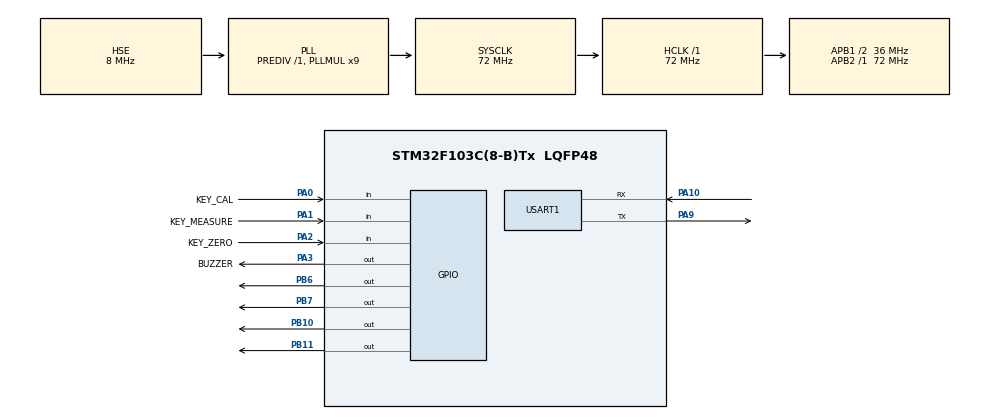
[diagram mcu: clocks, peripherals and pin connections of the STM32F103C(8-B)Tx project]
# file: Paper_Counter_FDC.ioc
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Mcu.Family=STM32F1
Mcu.Name=STM32F103C(8-B)Tx
Mcu.Package=LQFP48
NVIC.PriorityGroup=NVIC_PRIORITYGROUP_4
PA0-WKUP.GPIO_Label=KEY_CAL
PA0-WKUP.GPIO_PuPd=GPIO_PULLUP
PA0-WKUP.Signal=GPIO_Input
PA1.GPIO_Label=KEY_MEASURE
PA1.GPIO_PuPd=GPIO_PULLUP
PA1.Signal=GPIO_Input
PA10.Mode=Asynchronous
PA10.Signal=USART1_RX
PA13.Mode=Serial_Wire
PA13.Signal=SYS_JTMS-SWDIO
PA14.Mode=Serial_Wire
PA14.Signal=SYS_JTCK-SWCLK
PA2.GPIO_Label=KEY_ZERO
PA2.GPIO_PuPd=GPIO_PULLUP
PA2.Signal=GPIO_Input
PA3.GPIO_Label=BUZZER
PA3.Signal=GPIO_Output
PA9.Mode=Asynchronous
PA9.Signal=USART1_TX
PB10.GPIO_ModeDefaultOutputPP=GPIO_MODE_OUTPUT_OD
PB10.GPIO_PuPd=GPIO_PULLUP
PB10.GPIO_Speed=GPIO_SPEED_FREQ_HIGH
PB10.PinState=GPIO_PIN_SET
PB10.Signal=GPIO_Output
PB11.GPIO_ModeDefaultOutputPP=GPIO_MODE_OUTPUT_OD
PB11.GPIO_PuPd=GPIO_PULLUP
PB11.GPIO_Speed=GPIO_SPEED_FREQ_HIGH
PB11.PinState=GPIO_PIN_SET
PB11.Signal=GPIO_Output
PB6.GPIO_ModeDefaultOutputPP=GPIO_MODE_OUTPUT_OD
PB6.GPIO_PuPd=GPIO_PULLUP
PB6.GPIO_Speed=GPIO_SPEED_FREQ_HIGH
PB6.PinState=GPIO_PIN_SET
PB6.Signal=GPIO_Output
PB7.GPIO_ModeDefaultOutputPP=GPIO_MODE_OUTPUT_OD
PB7.GPIO_PuPd=GPIO_PULLUP
PB7.GPIO_Speed=GPIO_SPEED_FREQ_HIGH
PB7.PinState=GPIO_PIN_SET
PB7.Signal=GPIO_Output
PD0-OSC_IN.Mode=HSE-External-Oscillator
PD0-OSC_IN.Signal=RCC_OSC_IN
PD1-OSC_OUT.Mode=HSE-External-Oscillator
PD1-OSC_OUT.Signal=RCC_OSC_OUT
ProjectManager.HeapSize=0x200
ProjectManager.StackSize=0x400
ProjectManager.TargetToolchain=MDK-ARM V5.32
RCC.AHBFreq_Value=72000000
RCC.APB1CLKDivider=RCC_HCLK_DIV2
RCC.APB1Freq_Value=36000000
RCC.APB1TimFreq_Value=72000000
RCC.APB2Freq_Value=72000000
RCC.APB2TimFreq_Value=72000000
RCC.HCLKFreq_Value=72000000
RCC.PLLMUL=RCC_PLL_MUL9
RCC.PLLSourceVirtual=RCC_PLLSOURCE_HSE
RCC.SYSCLKFreq_VALUE=72000000
RCC.SYSCLKSource=RCC_SYSCLKSOURCE_PLLCLK
RCC.USBFreq_Value=72000000
USART1.VirtualMode=VM_ASYNC
board=custom

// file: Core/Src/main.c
/* USER CODE BEGIN Header */
/**
  ******************************************************************************
  * @file           : main.c
  * @brief          : Paper Counter - Giant UI Centered & Pure Linear Math & Undo Cal
  ******************************************************************************
  */
/* USER CODE END Header */
#include "main.h"
#include "usart.h"
#include "gpio.h"

/* USER CODE BEGIN Includes */

#include "fdc2214.h"
#include "OLED.h"
#include <stdio.h>
#include <math.h>

/* USER CODE END Includes */

void SystemClock_Config(void);
/* USER CODE BEGIN PFP */

#ifdef __GNUC__
  #define PUTCHAR_PROTOTYPE int __io_putchar(int ch)
#else
  #define PUTCHAR_PROTOTYPE int fputc(int ch, FILE *f)
#endif

PUTCHAR_PROTOTYPE
{
  extern UART_HandleTypeDef huart1;
  HAL_UART_Transmit(&huart1, (uint8_t *)&ch, 1, 0xFFFF);
  return ch;
}

void Buzz_Beep(uint16_t ms);

/* USER CODE END PFP */

/* USER CODE BEGIN 0 */

// ==========================================
// 核心配置与算法变量
// ==========================================
#define CAL_POINTS 26
#define SHORT_CIRCUIT_RAW_THRESHOLD 80000000

const uint16_t Sheet_Nodes[CAL_POINTS] = {0, 1, 5, 10, 15, 20, 25, 30, 35, 40, 45, 50, 55, 60, 65, 70, 75, 80, 85, 90, 95, 100, 105, 110, 115, 120};

long long Cal_Data_Delta[CAL_POINTS] = {0};
uint32_t Air_Base_Raw = 0;

// 系统状态机
typedef enum {
    STATE_CALIBRATING = 0,
    STATE_READY,
    STATE_MEASURED
} SystemState_t;

SystemState_t sys_state = STATE_CALIBRATING;
uint8_t cal_step = 0;
uint8_t valid_cal_points = CAL_POINTS;

// ==========================================
// 算法1：去极值平均滤波法
// ==========================================
uint32_t Get_Filtered_FDC_Data(void) {
    uint32_t max_val = 0;
    uint32_t min_val = 0xFFFFFFFF;
    uint64_t sum = 0;
    uint32_t temp = 0;

    for(int i = 0; i < 22; i++) {
        temp = FDC2214_ReadCH0_Raw();
        if (temp > max_val) max_val = temp;
        if (temp < min_val) min_val = temp;
        sum += temp;
        HAL_Delay(5);
    }

    sum = sum - max_val - min_val;
    return (uint32_t)(sum / 20);
}

// ==========================================
// 算法2：分段线性插值与尾部外推 (两点纯线性占比)
// ==========================================
uint16_t Calculate_Sheets(long long current_delta) {
    if (valid_cal_points < 2) return 0;
    uint8_t is_ascending = (Cal_Data_Delta[valid_cal_points-1] > Cal_Data_Delta[1]);

    if (is_ascending) {
        if (current_delta <= Cal_Data_Delta[1]) return Sheet_Nodes[1];

        // 区间内：两点之间纯线性插值
        for (int i = 1; i < valid_cal_points - 1; i++) {
            if (current_delta >= Cal_Data_Delta[i] && current_delta <= Cal_Data_Delta[i+1]) {
                float frac = (float)(current_delta - Cal_Data_Delta[i]) / (float)(Cal_Data_Delta[i+1] - Cal_Data_Delta[i]);
                return (uint16_t)round(Sheet_Nodes[i] + frac * (Sheet_Nodes[i+1] - Sheet_Nodes[i]));
            }
        }

        // 区间外：最后两点纯线性外推
        int last = valid_cal_points - 1, prev = valid_cal_points - 2;
        float frac = (float)(current_delta - Cal_Data_Delta[prev]) / (float)(Cal_Data_Delta[last] - Cal_Data_Delta[prev]);
        return (uint16_t)round(Sheet_Nodes[prev] + frac * (Sheet_Nodes[last] - Sheet_Nodes[prev]));

    } else {
        if (current_delta >= Cal_Data_Delta[1]) return Sheet_Nodes[1];

        for (int i = 1; i < valid_cal_points - 1; i++) {
            if (current_delta <= Cal_Data_Delta[i] && current_delta >= Cal_Data_Delta[i+1]) {
                float frac = (float)(Cal_Data_Delta[i] - current_delta) / (float)(Cal_Data_Delta[i] - Cal_Data_Delta[i+1]);
                return (uint16_t)round(Sheet_Nodes[i] + frac * (Sheet_Nodes[i+1] - Sheet_Nodes[i]));
            }
        }

        int last = valid_cal_points - 1, prev = valid_cal_points - 2;
        float frac = (float)(Cal_Data_Delta[prev] - current_delta) / (float)(Cal_Data_Delta[prev] - Cal_Data_Delta[last]);
        return (uint16_t)round(Sheet_Nodes[prev] + frac * (Sheet_Nodes[last] - Sheet_Nodes[prev]));
    }
}

/* USER CODE END 0 */

int main(void)
{

  /* MCU Configuration--------------------------------------------------------*/

  /* Reset of all peripherals, Initializes the Flash interface and the Systick. */
  HAL_Init();

  /* Configure the system clock */
  SystemClock_Config();

  /* Initialize all configured peripherals */
  MX_GPIO_Init();
  MX_USART1_UART_Init();
  /* USER CODE BEGIN 2 */
  printf("\r\n=== Paper Counter V10.4 (Pure Linear Math) ===\r\n");
  OLED_Init();
  OLED_Clear();

  if (FDC2214_Init() == 0) {
      OLED_ShowString(1, 1, "Sensor OK!    ");
      Buzz_Beep(200);
  } else {
      OLED_ShowString(1, 1, "ERR: NO SENSOR");
      while(1) { Buzz_Beep(300); HAL_Delay(300); }
  }

  HAL_Delay(500);
  OLED_Clear();

  char display_buf[20];
  OLED_ShowString(1, 1, "Step 1: Cal    ");
  sprintf(display_buf, "Insert: %-2d sht ", Sheet_Nodes[cal_step]);
  OLED_ShowString(2, 1, display_buf);
  OLED_ShowString(3, 1, "R:0            ");
  OLED_ShowString(4, 1, "Press CAL KEY  ");

  uint32_t current_raw = 0;
  uint32_t last_ui_tick = 0;

  /* USER CODE END 2 */

  /* Infinite loop */
  while (1)
  {

    /* USER CODE BEGIN 3 */

      // ==========================================
      // 【后台任务】：实时刷新 Delta 数据 (仅未测量时)
      // ==========================================
      if (sys_state != STATE_MEASURED && (HAL_GetTick() - last_ui_tick > 150)) {
          last_ui_tick = HAL_GetTick();
          uint32_t live_raw = FDC2214_ReadCH0_Raw();

          if (live_raw == 0) {
              FDC2214_Init();
              OLED_ShowString(3, 1, "D: SENSOR RST ");
          } else {
              char rt_buf[17];
              if (cal_step == 0) {
                  sprintf(rt_buf, "R:%-12lu", live_raw);
              } else {
                  long long live_delta = (long long)live_raw - (long long)Air_Base_Raw;
                  sprintf(rt_buf, "D:%-12lld", live_delta);
              }
              OLED_ShowString(3, 1, rt_buf);
          }
      }

      // ==========================================
      // 【按键 1】：CAL 键 (校准收集按键)
      // ==========================================
      if (HAL_GPIO_ReadPin(KEY_CAL_GPIO_Port, KEY_CAL_Pin) == GPIO_PIN_RESET)
      {
          HAL_Delay(20);
          if (HAL_GPIO_ReadPin(KEY_CAL_GPIO_Port, KEY_CAL_Pin) == GPIO_PIN_RESET)
          {
              if (sys_state == STATE_CALIBRATING)
              {
                  OLED_ShowString(4, 1, "Wait...       ");
                  HAL_Delay(800);

                  OLED_ShowString(4, 1, "Reading...    ");
                  current_raw = Get_Filtered_FDC_Data();

                  if (cal_step == 0) {
                      Air_Base_Raw = current_raw;
                      Cal_Data_Delta[0] = 0;
                      printf("[CAL 0 sht] Air Base: %lu, Delta: 0\r\n", Air_Base_Raw);
                  } else {
                      long long delta = (long long)current_raw - (long long)Air_Base_Raw;
                      Cal_Data_Delta[cal_step] = delta;
                  }

                  Buzz_Beep(100);
                  cal_step++;

                  if (cal_step < CAL_POINTS) {
                      sprintf(display_buf, "Insert: %-2d sht ", Sheet_Nodes[cal_step]);
                      OLED_ShowString(2, 1, display_buf);
                      OLED_ShowString(4, 1, "Press CAL KEY  ");
                  } else {
                      valid_cal_points = CAL_POINTS;
                      sys_state = STATE_READY;
                      OLED_Clear();
                      OLED_ShowString(1, 1, "Cal Finished! ");
                      OLED_ShowString(2, 1, "Ready to test.");
                      OLED_ShowString(4, 1, "Press MEASURE ");
                  }
              }
              while(HAL_GPIO_ReadPin(KEY_CAL_GPIO_Port, KEY_CAL_Pin) == GPIO_PIN_RESET);
          }
      }

      // ==========================================
      // 【按键 2】：MEASURE 键 (测试按键 / 撤销校准键)
      // ==========================================
      if (HAL_GPIO_ReadPin(KEY_MEASURE_GPIO_Port, KEY_MEASURE_Pin) == GPIO_PIN_RESET)
      {
          HAL_Delay(20);
          if (HAL_GPIO_ReadPin(KEY_MEASURE_GPIO_Port, KEY_MEASURE_Pin) == GPIO_PIN_RESET)
          {
              // --- 撤销逻辑 ---
              if (sys_state == STATE_CALIBRATING) {
                  if (cal_step > 0) {
                      cal_step--;
                      OLED_ShowString(4, 1, "Undo 1 Step... ");
                      Buzz_Beep(50); HAL_Delay(50); Buzz_Beep(50);

                      sprintf(display_buf, "Insert: %-2d sht ", Sheet_Nodes[cal_step]);
                      OLED_ShowString(2, 1, display_buf);
                      HAL_Delay(500);
                      OLED_ShowString(4, 1, "Press CAL KEY  ");
                  } else {
                      OLED_ShowString(4, 1, "Cannot Undo!   ");
                      Buzz_Beep(200);
                      HAL_Delay(500);
                      OLED_ShowString(4, 1, "Press CAL KEY  ");
                  }
              }

              // --- 测量逻辑 ---
              else if (sys_state == STATE_READY || sys_state == STATE_MEASURED)
              {
                  OLED_Clear();
                  OLED_ShowString(2, 1, "  Testing...  ");
                  OLED_ShowString(3, 1, " Please Wait  ");

                  HAL_Delay(800);

                  current_raw = Get_Filtered_FDC_Data();

                  if(current_raw > SHORT_CIRCUIT_RAW_THRESHOLD) {
                      OLED_Clear();
                      OLED_ShowString(1, 1, "!! WARNING !! ");
                      OLED_ShowString(2, 1, "SHORT CIRCUIT!");
                      OLED_ShowString(4, 1, "Press MEASURE ");
                      Buzz_Beep(1000);
                      sys_state = STATE_MEASURED;
                  } else {
                      long long current_delta = (long long)current_raw - (long long)Air_Base_Raw;
                      uint16_t result = Calculate_Sheets(current_delta);

                      OLED_Clear();
                      OLED_ShowBigNum(16, result, 3); // 巨型字体居中显示

                      Buzz_Beep(300);
                      sys_state = STATE_MEASURED;
                  }
              }
              while(HAL_GPIO_ReadPin(KEY_MEASURE_GPIO_Port, KEY_MEASURE_Pin) == GPIO_PIN_RESET);
          }
      }

      // ==========================================
      // 【按键 3】：ZERO 键 (跳过校准 / 强制重归校准)
      // ==========================================
      if (HAL_GPIO_ReadPin(KEY_ZERO_GPIO_Port, KEY_ZERO_Pin) == GPIO_PIN_RESET)
      {
          HAL_Delay(20);
          if (HAL_GPIO_ReadPin(KEY_ZERO_GPIO_Port, KEY_ZERO_Pin) == GPIO_PIN_RESET)
          {
              if (sys_state == STATE_CALIBRATING)
              {
                  if (cal_step >= 2) {
                      valid_cal_points = cal_step;
                      sys_state = STATE_READY;

                      OLED_Clear();
                      OLED_ShowString(1, 1, "Cal Skipped!  ");
                      sprintf(display_buf, "Saved %-2d Pts  ", valid_cal_points);
                      OLED_ShowString(2, 1, display_buf);
                      OLED_ShowString(4, 1, "Press MEASURE ");
                      Buzz_Beep(100);
                  } else {
                      OLED_ShowString(4, 1, "Need >=2 Pts! ");
                      Buzz_Beep(50); HAL_Delay(50); Buzz_Beep(50);
                  }
              }
              else if (sys_state == STATE_MEASURED || sys_state == STATE_READY)
              {
                  sys_state = STATE_CALIBRATING;
                  cal_step = 0;
                  OLED_Clear();
                  OLED_ShowString(1, 1, "Step 1: Cal    ");
                  sprintf(display_buf, "Insert: %-2d sht ", Sheet_Nodes[cal_step]);
                  OLED_ShowString(2, 1, display_buf);
                  OLED_ShowString(3, 1, "R:0            ");
                  OLED_ShowString(4, 1, "Press CAL KEY  ");
                  Buzz_Beep(150);
              }
              while(HAL_GPIO_ReadPin(KEY_ZERO_GPIO_Port, KEY_ZERO_Pin) == GPIO_PIN_RESET);
          }
      }
  }
  /* USER CODE END 3 */
}

void SystemClock_Config(void)
{
  RCC_OscInitTypeDef RCC_OscInitStruct = {0};
  RCC_ClkInitTypeDef RCC_ClkInitStruct = {0};

  /** Initializes the RCC Oscillators according to the specified parameters
  * in the RCC_OscInitTypeDef structure.
  */
  RCC_OscInitStruct.OscillatorType = RCC_OSCILLATORTYPE_HSE;
  RCC_OscInitStruct.HSEState = RCC_HSE_ON;
  RCC_OscInitStruct.HSEPredivValue = RCC_HSE_PREDIV_DIV1;
  RCC_OscInitStruct.HSIState = RCC_HSI_ON;
  RCC_OscInitStruct.PLL.PLLState = RCC_PLL_ON;
  RCC_OscInitStruct.PLL.PLLSource = RCC_PLLSOURCE_HSE;
  RCC_OscInitStruct.PLL.PLLMUL = RCC_PLL_MUL9;
  if (HAL_RCC_OscConfig(&RCC_OscInitStruct) != HAL_OK)
  {
    Error_Handler();
  }

  /** Initializes the CPU, AHB and APB buses clocks
  */
  RCC_ClkInitStruct.ClockType = RCC_CLOCKTYPE_HCLK|RCC_CLOCKTYPE_SYSCLK
                              |RCC_CLOCKTYPE_PCLK1|RCC_CLOCKTYPE_PCLK2;
  RCC_ClkInitStruct.SYSCLKSource = RCC_SYSCLKSOURCE_PLLCLK;
  RCC_ClkInitStruct.AHBCLKDivider = RCC_SYSCLK_DIV1;
  RCC_ClkInitStruct.APB1CLKDivider = RCC_HCLK_DIV2;
  RCC_ClkInitStruct.APB2CLKDivider = RCC_HCLK_DIV1;

  if (HAL_RCC_ClockConfig(&RCC_ClkInitStruct, FLASH_LATENCY_2) != HAL_OK)
  {
    Error_Handler();
  }
}

/* USER CODE BEGIN 4 */

void Buzz_Beep(uint16_t ms) {
    HAL_GPIO_WritePin(BUZZER_GPIO_Port, BUZZER_Pin, GPIO_PIN_SET);
    HAL_Delay(ms);
    HAL_GPIO_WritePin(BUZZER_GPIO_Port, BUZZER_Pin, GPIO_PIN_RESET);
}

/* USER CODE END 4 */

void Error_Handler(void)
{
  __disable_irq();
  while (1)
  {
  }
}
